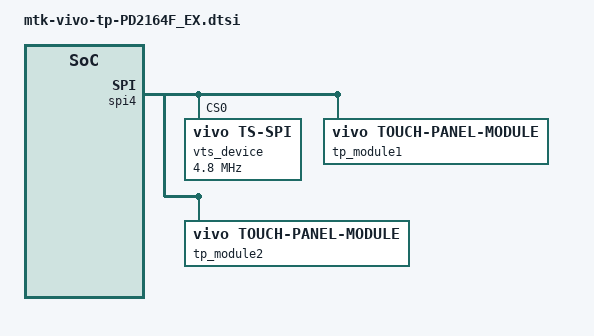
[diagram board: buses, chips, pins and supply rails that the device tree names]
&pio {
	pd2164_tp_spi_mode: clk_mode_default {
		pins_cmd_dat {
			pinmux = <PINMUX_GPIO97__FUNC_SPI4_CLK>;
			drive-strength = <3>;
		};
	};
};

&spi4 {
	status = "okay";
	vts_device@0 {
		compatible = "vivo,ts-spi";
		status = "okay";
		reg=<0>;
		spi-max-frequency = <4800000>;
		pinctrl-names = "default";
		pinctrl-0 = <&pd2164_tp_spi_mode>;
		nt36672 {
			compatible = "novatek,NVT-ts-spi-v2";
			status = "ok";

			vts-type=<0>;
			vts-ic-number=<81>;
			spi-max-frequency = <9600000>;	//4800000,9600000,15000000,19200000
			novatek,reset-gpio = <&pio 186 0x00>;
			novatek,irq-gpio = <&pio 14 0x2001>;
			novatek,cs-gpio = <&pio 98 0x00>;
			novatek,miso-gpio = <&pio 12 0x00>;
			sensor-test-key="com.nttouchscreen.mptest:MainActivity:android.intent.action.novatek:0:testResult";
			lcm-noise-test-key="com.nt36xxxtouchscreen.deltadiff:MainActivity:null:null:null";
			rawdata-test-key="com.nttouchscreen.getdata:MainActivity:null:null:null";
			rf-noise-test-key="com.nt36xxxtouchscreen.deltadiff:BspTest:android.intent.action.nvtdeltadiff:0:testResult";
			
			novatek,swrst-n8-addr = <0x03F0FE>;

			//vts-incell-panel = <&dsi_nt36675_tm_fhdplus_video &dsi_ft8756_truly_fhdplus_video &dsi_nt36672c_tm657_dsc_fhdplus_video>;

		};
		
		ili_9882n {
			status = "okay";
			compatible = "tchip,ilitek";
			vts-type=<0>;
			vts-ic-number=<91>;
			spi-max-frequency = <9600000>;
			touch,reset-gpio = <&pio 186 0x00>;
			touch,irq-gpio = <&pio 14 0x2001>;

			sensor-test-key="com.ilitek.touchscreen.tptest3X:MP3XActivity:com.ilitek.touchscreen.action.tptest:0:ILITEK_TpTestResult";
			lcm-noise-test-key="com.ilitek.touchscreen.noisev2:MainActivity:null:null:null"; 
			rawdata-test-key="com.ilitek.touchscreen.noisev2:DataShowActivity:null:null:null";
			rf-noise-test-key="com.ilitek.touchscreen.noisev2:BspTestActivity:com.ilitek.touchscreen.action.noisetest:0:ILITEK_TpTestResult";
			//vts-incell-panel=<&dsi_pd2034_tm_ili9882n_hdplus_video &dsi_pd2034_inx_ili9882n_hdplus_video>;
		};

		hx83112 {
			compatible = "himax,hx83112-spi-v2";
			status = "ok";
			vts-type=<0>;
			vts-ic-number=<101>;
			spi-max-frequency = <9600000>;	//4800000,9600000,15000000,19200000
			himax,rst-gpio = <&pio 186 0x00>;
			himax,irq-gpio = <&pio 14 22 0x2001>;
			himax,panel-coords = <0 1080 0 2408>;
			himax,display-coords = <0 1080 0 2408>;
			himax,tx-sensors = <18>;
			himax,rx-sensors = <36>;

			sensor-test-key="com.himax.mpap:MainActivity:android.intent.action.himax:0:testResult";
			lcm-noise-test-key="com.ln2.himaxtouch:RawdataRecord.HoppingNoiseGet:null:null:null";
			rawdata-test-key="com.ln2.himaxtouch:DataShowActivity:null:null:null";
			rf-noise-test-key="com.ln2.himaxtouch:BspTestActivity:android.intent.action.himax:0:testResult";
		};

		ft8719 {
			compatible = "focaltech,ft8719_v2";
			status = "okay";

			vts-type=<0>;
			vts-ic-number=<36>;
			spi-max-frequency = <6000000>;	//4800000,9600000,15000000,19200000
			focaltech,reset-gpio = <&pio 186 0x00>;
			focaltech,irq-gpio = <&pio 14 0x02>;
			//focaltech,cs-gpio = <&pio 21 0x00>;
			focaltech,max-touch-number = <10>;
			focaltech,display-coords = <0 0 1080 2408>;

			sensor-test-key="com.focaltouchscreen.sensortest:MainActivity:com.focaltouchscreen.sensortest:0:focal_test_result";
			lcm-noise-test-key="com.focaltech.deltadiff:MainActivity:null:null:null";
			rawdata-test-key="com.focaltech.deltadiff:DataActivity:null:null:null";
			rf-noise-test-key="com.focaltech.deltadiff:BspTestActivity:com.focaltech.deltadiff:0:testResult";
		};
	};

	tp_module1 {
		compatible = "vivo,touch-panel-module";
		vts-ic-number=<91>;
		vts-type=<0>;
		vts-lcmid=<16 18>;// CPD2117 TMG5.5 incell ILI7807S 1211770/1211807
		vts-dimention-x=<1080>;
		vts-dimention-y=<2408>;
		vts-tx-sensors=<16>;
		vts-rx-sensors=<36>;
		vts-incell=<1>;
 		vts-need-caliberation=<0>;
 		vts-virtual-proximinity=<0>;
 		vts-long-press=<0>;
		vts-module-vendor=<0xF0>;
		vts-no-flash=<1>;
		vts-gesture=<1>;
		vts-game-mode=<1>;
	};

	tp_module2 {
		compatible = "vivo,touch-panel-module";
		vts-ic-number=<91>;
		vts-type=<0>;
		vts-lcmid=<65>;// CPD2117 0CH DJI ILI7807S 1211799
		vts-dimention-x=<1080>;
		vts-dimention-y=<2408>;
		vts-tx-sensors=<16>;
		vts-rx-sensors=<36>;
		vts-incell=<1>;
 		vts-need-caliberation=<0>;
 		vts-virtual-proximinity=<0>;
 		vts-long-press=<0>;
		vts-module-vendor=<0xF0>;
		vts-no-flash=<1>;
		vts-gesture=<1>;
		vts-game-mode=<1>;
		vts-game-idle-time=<10>;
	};
};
